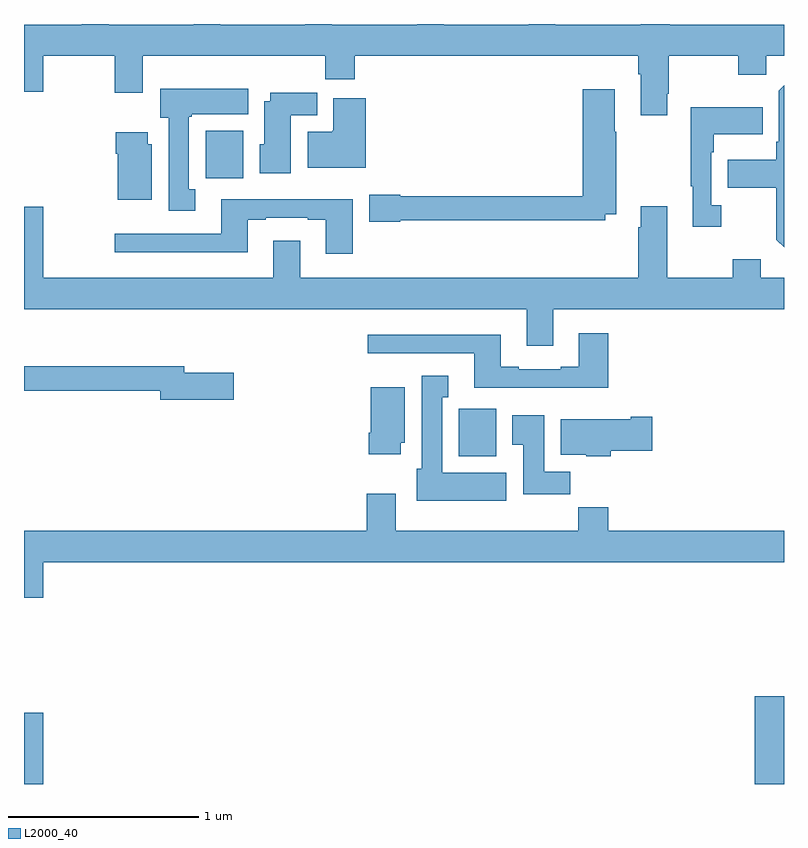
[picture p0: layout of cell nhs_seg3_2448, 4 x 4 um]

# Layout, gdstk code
import gdstk
lib = gdstk.Library(unit=1e-6, precision=1e-09)
def R(c, l, rs):  # rectangles x0, y0, x1, y1
    for r in rs: c.add(gdstk.rectangle(r[:2], r[2:], *l))
def P(c, l, *ps):  # polygons
    for p in ps: c.add(gdstk.Polygon(p, *l))
L2000_40 = (2000, 40)

nhs_seg3_2448 = lib.new_cell('nhs_seg3_2448')
R(nhs_seg3_2448, L2000_40, [(237,714.4,237.1,714.775), (240.845,714.4,241,714.862), (239.289,716.126,239.485,716.376), (237.957,717.588,238.153,717.838)])
P(nhs_seg3_2448, L2000_40, [(240.245,718.396),(239.797,718.396),(239.797,718.4),(239.657,718.4),(239.657,718.396),(239.209,718.396),(239.209,718.4),(239.069,718.4),(239.069,718.396),(238.621,718.396),(238.621,718.4),(238.481,718.4),(238.481,718.396),(238.033,718.396),(238.033,718.4),(237.893,718.4),(237.893,718.396),(237.445,718.396),(237.445,718.4),(237.305,718.4),(237.305,718.396),(237,718.396),(237,718.044),(237.1,718.044),(237.1,718.232),(237.478,718.232),(237.478,718.038),(237.625,718.038),(237.625,718.232),(238.585,718.232),(238.585,718.108),(238.742,718.108),(238.742,718.232),(240.233,718.232),(240.233,718.136),(240.245,718.136),(240.245,717.921),(240.385,717.921),(240.385,718.033),(240.393,718.033),(240.393,718.232),(240.76,718.232),(240.76,718.133),(240.906,718.133),(240.906,718.232),(241,718.232),(241,718.396),(240.398,718.396),(240.398,718.4),(240.245,718.4)],
  [(241,718.078),(240.972,718.05),(240.972,717.781),(240.96,717.781),(240.96,717.685),(240.703,717.685),(240.703,717.538),(240.96,717.538),(240.96,717.265),(241,717.225)],
  [(237.901,717.529),(237.868,717.529),(237.868,717.913),(237.882,717.913),(237.882,717.926),(238.18,717.926),(238.18,718.06),(237.716,718.06),(237.716,717.906),(237.761,717.906),(237.761,717.417),(237.901,717.417)],
  [(238.98,717.366),(240.06,717.366),(240.06,717.398),(240.117,717.398),(240.117,717.833),(240.109,717.833),(240.109,718.057),(239.942,718.057),(239.942,717.494),(238.98,717.494),(238.98,717.502),(238.818,717.502),(238.818,717.358),(238.98,717.358)],
  [(238.405,717.92),(238.543,717.92),(238.543,718.038),(238.295,718.038),(238.295,717.994),(238.265,717.994),(238.265,717.768),(238.241,717.768),(238.241,717.614),(238.405,717.614)],
  [(238.799,718.009),(238.628,718.009),(238.628,717.838),(238.622,717.838),(238.622,717.832),(238.493,717.832),(238.493,717.644),(238.799,717.644)],
  [(240.67,717.446),(240.618,717.446),(240.618,717.725),(240.631,717.725),(240.631,717.821),(240.887,717.821),(240.887,717.961),(240.51,717.961),(240.51,717.545),(240.521,717.545),(240.521,717.333),(240.67,717.333)],
  [(237.673,717.768),(237.652,717.768),(237.652,717.829),(237.482,717.829),(237.482,717.716),(237.494,717.716),(237.494,717.476),(237.673,717.476)],
  [(238.729,717.478),(238.037,717.478),(238.037,717.297),(237.477,717.297),(237.477,717.2),(238.177,717.2),(238.177,717.369),(238.273,717.369),(238.273,717.381),(238.493,717.381),(238.493,717.369),(238.589,717.369),(238.589,717.192),(238.729,717.192)],
  [(239.785,716.9),(241,716.9),(241,717.064),(240.877,717.064),(240.877,717.163),(240.73,717.163),(240.73,717.064),(240.385,717.064),(240.385,717.442),(240.245,717.442),(240.245,717.329),(240.233,717.329),(240.233,717.064),(238.453,717.064),(238.453,717.259),(238.313,717.259),(238.313,717.064),(237.1,717.064),(237.1,717.439),(237,717.439),(237,716.9),(239.645,716.9),(239.645,716.706),(239.785,716.706)],
  [(240.074,716.773),(239.921,716.773),(239.921,716.596),(239.825,716.596),(239.825,716.583),(239.605,716.583),(239.605,716.596),(239.509,716.596),(239.509,716.764),(238.809,716.764),(238.809,716.667),(239.369,716.667),(239.369,716.486),(240.074,716.486)],
  [(238.105,716.565),(237.844,716.565),(237.844,716.599),(237,716.599),(237,716.47),(237.716,716.47),(237.716,716.423),(238.105,716.423)],
  [(239.539,716.038),(239.2,716.038),(239.2,716.435),(239.233,716.435),(239.233,716.548),(239.093,716.548),(239.093,716.058),(239.066,716.058),(239.066,715.892),(239.539,715.892)],
  [(238.984,716.196),(239.005,716.196),(239.005,716.488),(238.826,716.488),(238.826,716.248),(238.814,716.248),(238.814,716.136),(238.984,716.136)],
  [(239.876,716.044),(239.737,716.044),(239.737,716.341),(239.57,716.341),(239.57,716.185),(239.627,716.185),(239.627,715.926),(239.876,715.926)],
  [(240.089,716.155),(240.307,716.155),(240.307,716.333),(240.194,716.333),(240.194,716.32),(239.825,716.32),(239.825,716.132),(239.958,716.132),(239.958,716.126),(240.089,716.126)],
  [(237.1,715.568),(241,715.568),(241,715.732),(240.074,715.732),(240.074,715.856),(239.917,715.856),(239.917,715.732),(238.957,715.732),(238.957,715.927),(238.805,715.927),(238.805,715.732),(237,715.732),(237,715.38),(237.1,715.38)])

lib.write_gds('nhs_seg3_2448.gds')
